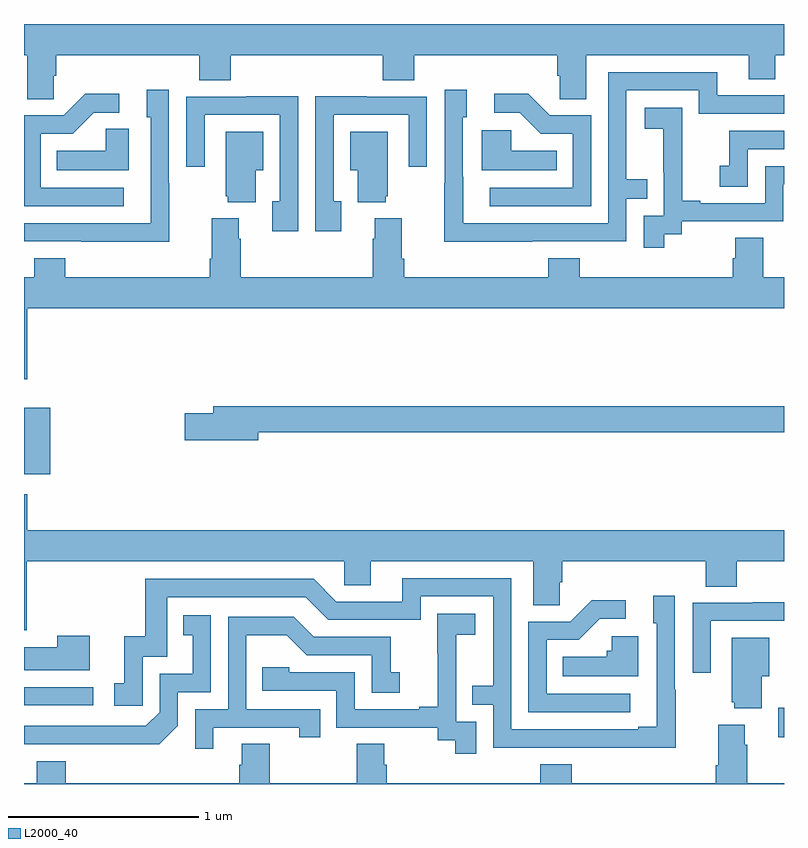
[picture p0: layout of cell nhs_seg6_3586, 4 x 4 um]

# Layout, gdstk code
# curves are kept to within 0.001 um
import gdstk
lib = gdstk.Library(unit=1e-6, precision=1e-09)
def R(c, l, rs):  # rectangles x0, y0, x1, y1
    for r in rs: c.add(gdstk.rectangle(r[:2], r[2:], *l))
def P(c, l, *ps):  # polygons
    for p in ps: c.add(gdstk.Polygon(p, *l))
L2000_40 = (2000, 40)

nhs_seg6_3586 = lib.new_cell('nhs_seg6_3586')
R(nhs_seg6_3586, L2000_40, [(324.971,943.746,325,943.902), (321,943.914,321.364,944.01), (321,945.129,321.137,945.481)])
P(nhs_seg6_3586, L2000_40, [(321.156,947.227),(321.17,947.227),(321.17,947.336),(321.923,947.336),(321.923,947.203),(322.088,947.203),(322.088,947.336),(322.889,947.336),(322.889,947.203),(323.054,947.203),(323.054,947.336),(323.807,947.336),(323.807,947.227),(323.82,947.227),(323.82,947.104),(323.959,947.104),(323.959,947.336),(324.815,947.336),(324.815,947.209),(324.954,947.209),(324.954,947.336),(325,947.336),(325,947.5),(321,947.5),(321,947.336),(321.017,947.336),(321.017,947.104),(321.156,947.104)],
  [(323.675,946.356),(324.171,946.356),(324.171,946.581),(324.281,946.581),(324.281,946.682),(324.171,946.682),(324.171,947.151),(324.552,947.151),(324.552,947.028),(325,947.028),(325,947.128),(324.996,947.124),(324.649,947.124),(324.649,947.247),(324.075,947.247),(324.075,946.452),(323.311,946.452),(323.31,947.01),(323.329,947.01),(323.329,947.155),(323.214,947.155),(323.214,946.661),(323.212,946.661),(323.212,946.355)],
  [(321.765,946.661),(321.762,946.661),(321.762,947.155),(321.647,947.155),(321.647,947.01),(321.666,947.01),(321.666,946.452),(321,946.452),(321,946.356),(321.301,946.356),(321.301,946.355),(321.765,946.355)],
  [(323.985,947.019),(323.766,947.019),(323.653,947.132),(323.475,947.132),(323.475,947.034),(323.609,947.034),(323.72,946.923),(323.889,946.923),(323.889,946.638),(323.451,946.638),(323.451,946.542),(323.985,946.542)],
  [(321.526,946.638),(321.087,946.638),(321.087,946.923),(321.256,946.923),(321.367,947.034),(321.502,947.034),(321.502,947.132),(321.323,947.132),(321.21,947.019),(321,947.019),(321,946.542),(321.526,946.542)],
  [(322.443,947.12),(322.171,947.12),(322.171,947.118),(321.855,947.118),(321.855,946.749),(321.951,946.749),(321.951,947.022),(322.347,947.022),(322.347,946.566),(322.307,946.566),(322.307,946.41),(322.443,946.41)],
  [(322.669,946.566),(322.629,946.566),(322.629,947.022),(323.025,947.022),(323.025,946.749),(323.121,946.749),(323.121,947.118),(322.805,947.118),(322.805,947.12),(322.533,947.12),(322.533,946.41),(322.669,946.41)],
  [(324.37,946.393),(324.462,946.393),(324.462,946.461),(324.996,946.461),(324.996,946.656),(325,946.656),(325,946.752),(324.9,946.752),(324.9,946.557),(324.559,946.557),(324.559,946.57),(324.464,946.57),(324.464,946.853),(324.465,946.853),(324.465,947.059),(324.267,947.059),(324.267,946.949),(324.365,946.949),(324.365,946.721),(324.366,946.721),(324.366,946.491),(324.261,946.491),(324.261,946.323),(324.37,946.323)],
  [(321.55,946.949),(321.429,946.949),(321.429,946.834),(321.172,946.834),(321.172,946.73),(321.55,946.73)],
  [(323.804,946.834),(323.565,946.834),(323.565,946.942),(323.408,946.942),(323.408,946.73),(323.804,946.73)],
  [(324.81,946.842),(325,946.842),(325,946.938),(324.712,946.938),(324.712,946.753),(324.663,946.753),(324.663,946.644),(324.81,946.644)],
  [(322.219,946.73),(322.258,946.73),(322.258,946.933),(322.061,946.933),(322.061,946.593),(322.073,946.593),(322.073,946.562),(322.219,946.562)],
  [(322.904,946.593),(322.915,946.593),(322.915,946.933),(322.718,946.933),(322.718,946.73),(322.757,946.73),(322.757,946.562),(322.904,946.562)],
  [(325,946.168),(324.891,946.168),(324.891,946.376),(324.743,946.376),(324.743,946.266),(324.731,946.266),(324.731,946.168),(323.924,946.168),(323.924,946.267),(323.759,946.267),(323.759,946.168),(323,946.168),(323,946.264),(322.987,946.264),(322.987,946.477),(322.847,946.477),(322.847,946.37),(322.835,946.37),(322.835,946.168),(322.142,946.168),(322.142,946.37),(322.129,946.37),(322.129,946.477),(321.989,946.477),(321.989,946.264),(321.977,946.264),(321.977,946.168),(321.218,946.168),(321.218,946.267),(321.053,946.267),(321.053,946.168),(321,946.168),(321,945.63),(321.016,945.63),(321.016,946.004),(325,946.004)],
  [(322.234,945.352),(325,945.352),(325,945.488),(321.995,945.488),(321.995,945.452),(321.846,945.452),(321.846,945.31),(322.234,945.31)],
  [(321.014,944.672),(322.686,944.672),(322.686,944.545),(322.825,944.545),(322.825,944.672),(323.681,944.672),(323.681,944.44),(323.82,944.44),(323.82,944.563),(323.834,944.563),(323.834,944.672),(324.587,944.672),(324.587,944.539),(324.752,944.539),(324.752,944.672),(325,944.672),(325,944.836),(321.016,944.836),(321.016,945.025),(321,945.025),(321,944.31),(321.014,944.31)],
  [(324.429,943.997),(324.426,943.997),(324.426,944.491),(324.311,944.491),(324.311,944.346),(324.33,944.346),(324.33,943.801),(324.233,943.801),(324.233,943.788),(323.565,943.788),(323.565,944.583),(322.991,944.583),(322.991,944.46),(322.644,944.46),(322.524,944.58),(321.637,944.58),(321.637,944.278),(321.527,944.278),(321.527,944.031),(321.474,944.031),(321.474,943.911),(321.624,943.911),(321.624,944.169),(321.753,944.169),(321.753,944.484),(322.482,944.484),(322.602,944.364),(323.088,944.364),(323.088,944.487),(323.469,944.487),(323.469,944.018),(323.359,944.018),(323.359,943.917),(323.469,943.917),(323.469,943.692),(324.429,943.691)],
  [(324.19,943.974),(323.751,943.974),(323.751,944.259),(323.92,944.259),(324.031,944.37),(324.166,944.37),(324.166,944.468),(323.987,944.468),(323.874,944.355),(323.655,944.355),(323.655,943.878),(324.19,943.878)],
  [(324.615,944.358),(325,944.358),(325,944.456),(324.835,944.456),(324.835,944.454),(324.519,944.454),(324.519,944.085),(324.615,944.085)],
  [(323.379,943.827),(323.274,943.827),(323.274,944.057),(323.276,944.057),(323.276,944.285),(323.374,944.285),(323.374,944.395),(323.176,944.395),(323.176,944.189),(323.177,944.189),(323.177,943.906),(323.081,943.906),(323.081,943.893),(322.74,943.893),(322.74,944.088),(322.395,944.088),(322.395,944.115),(322.255,944.115),(322.255,943.992),(322.644,943.992),(322.644,943.797),(323.178,943.797),(323.178,943.729),(323.271,943.729),(323.271,943.659),(323.379,943.659)],
  [(321.81,943.806),(321.81,943.983),(321.984,943.983),(321.984,944.389),(321.838,944.389),(321.838,944.283),(321.887,944.283),(321.887,944.079),(321.714,944.079),(321.714,943.878),(321.642,943.806),(321,943.806),(321,943.71),(321.712,943.709)],
  [(321.997,943.797),(322.448,943.797),(322.448,943.746),(322.559,943.746),(322.559,943.893),(322.17,943.893),(322.17,944.282),(322.384,944.282),(322.488,944.178),(322.83,944.178),(322.83,943.98),(322.978,943.98),(322.978,944.089),(322.929,944.089),(322.929,944.274),(322.525,944.274),(322.42,944.379),(322.074,944.379),(322.074,943.893),(321.9,943.893),(321.9,943.686),(321.997,943.686)],
  [(321.346,944.281),(321.176,944.281),(321.176,944.221),(321,944.221),(321,944.099),(321.346,944.099)],
  [(324.232,944.278),(324.093,944.278),(324.093,944.202),(324.067,944.202),(324.067,944.17),(323.836,944.17),(323.836,944.066),(324.232,944.066)],
  [(324.883,944.066),(324.922,944.066),(324.922,944.269),(324.725,944.269),(324.725,943.929),(324.737,943.929),(324.737,943.898),(324.883,943.898)],
  [(325,943.504),(324.806,943.504),(324.806,943.706),(324.793,943.706),(324.793,943.813),(324.653,943.813),(324.653,943.6),(324.641,943.6),(324.641,943.504),(323.882,943.504),(323.882,943.603),(323.717,943.603),(323.717,943.504),(322.91,943.504),(322.91,943.602),(322.897,943.602),(322.897,943.712),(322.75,943.712),(322.75,943.504),(322.293,943.504),(322.293,943.712),(322.145,943.712),(322.145,943.602),(322.133,943.602),(322.133,943.504),(321.221,943.504),(321.221,943.621),(321.068,943.621),(321.068,943.504),(321,943.504),(321,943.5),(325,943.5)])

lib.write_gds('nhs_seg6_3586.gds')
